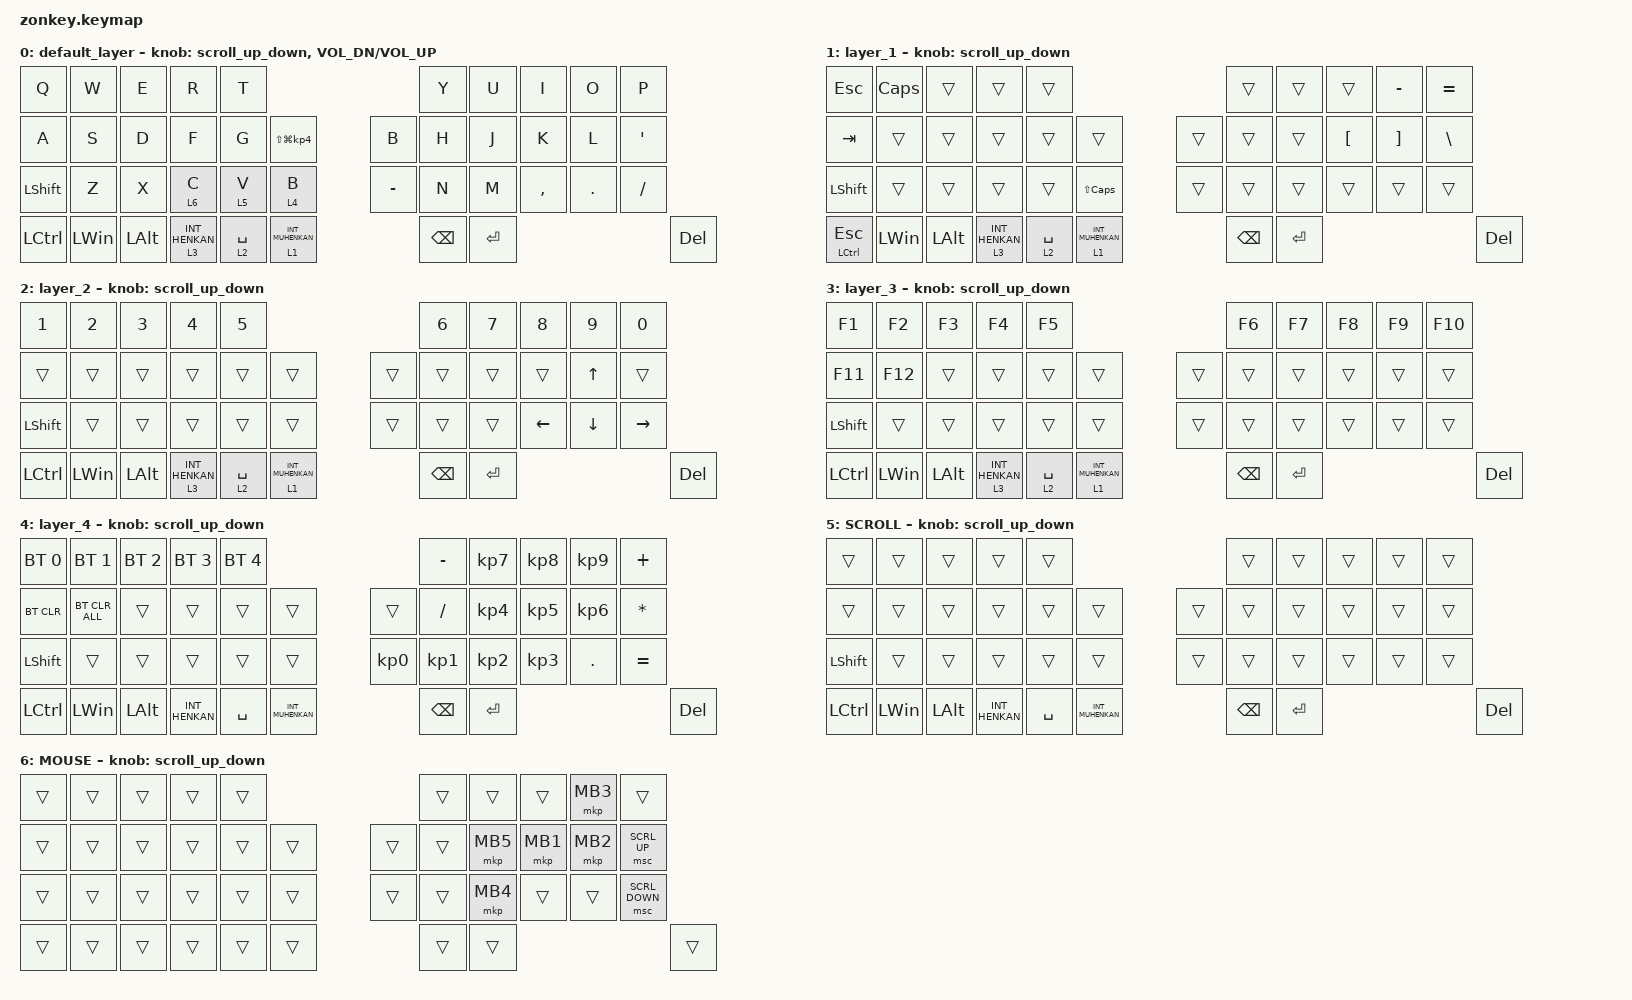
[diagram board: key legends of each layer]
#include <behaviors.dtsi>
#include <dt-bindings/zmk/bt.h>
#include <dt-bindings/zmk/keys.h>
#include <dt-bindings/zmk/pointing.h>

#define ZMK_POINTING_DEFAULT_SCRL_VAL 100
#define MOUSE 6
#define JP_DQUOTE       AT                // "

&mt {
    flavor = "balanced";
    quick-tap-ms = <0>;
};

/ {
    combos { compatible = "zmk,combos"; };

    macros {
        to_layer_0: to_layer_0 {
            compatible = "zmk,behavior-macro-one-param";
            #binding-cells = <1>;
            bindings = <&to 0 &macro_param_1to1 &kp MACRO_PLACEHOLDER>;
            label = "TO_LAYER_0";
        };
    };

    behaviors {
        lt_to_layer_0: lt_to_layer_0 {
            compatible = "zmk,behavior-hold-tap";
            label = "LAYER_TAP_TO_0";
            bindings = <&mo>, <&to_layer_0>;

            #binding-cells = <2>;
            tapping-term-ms = <200>;
        };

        scroll_up_down: behavior_sensor_rotate_mouse_wheel_up_down {
            compatible = "zmk,behavior-sensor-rotate";
            #sensor-binding-cells = <0>;
            bindings = <&msc SCRL_DOWN>, <&msc SCRL_UP>;

            tap-ms = <20>;
        };
    };

    keymap {
        compatible = "zmk,keymap";

        default_layer {
            // -----------------------------------------------------------------------------------------
            // |  Q  |  W  |  E  |  R  |  T  |                        |  Y  |  U   |  I  |  O  |  P  | 
            // |  A  |  S  |  D  |  F  |  G  |LS(LG(S))|        　 | - |  H  |  J   |  K  |  L  |  `  | 
            // |SHIFT|  Z  |  X  |  C  |  V  |  B  |           | ; |  N  |  M   |  ,  |  .  |  /  | 
            // | CTRL | WIN | ALT |HENKAN|SPACE|MUHENKAN|       | BS | ENT |      　　　　       | DEL |           

            bindings = <
&kp Q           &kp W         &kp E         &kp R             &kp T                                              &kp Y          &kp U      &kp I      &kp O    &kp P
&kp A           &kp S         &kp D         &kp F             &kp G        &kp LS(LG(KP_NUMBER_4))    &kp B      &kp H          &kp J      &kp K      &kp L    &kp SQT
&kp LEFT_SHIFT  &kp Z         &kp X         &lt 6 C           &lt 5 V      &lt 4 B                    &kp MINUS  &kp N          &kp M      &kp COMMA  &kp DOT  &kp SLASH
&kp LCTRL       &kp LEFT_WIN  &kp LEFT_ALT  &lt 3 INT_HENKAN  &lt 2 SPACE  &lt 1 INT_MUHENKAN                    &kp BACKSPACE  &kp ENTER                                 &kp DEL
            >;

            sensor-bindings =
                <&scroll_up_down>,
                <&inc_dec_kp C_VOL_DN C_VOL_UP>;
        };

        layer_1 {
            // -----------------------------------------------------------------------------------------
            // | 半角/全角 |CAPS|     |     |     |                     |     |     |  -  |  ^  |  ¥  |
            // | TAB |     |     |     |     |     |              |    |     |     |     |  @  |  [  |
            // |SHIFT|     |     |     |     |     |            | 英数 | かな |     |     |     |  ]  |
            // | CTRL| WIN | ALT |HENKAN|SPACE|MUHENKAN|         | BS | ENT |                   | DEL |

            bindings = <
&kp ESC         &kp CAPS      &trans        &trans            &trans                                     &trans         &trans     &trans            &kp MINUS          &kp EQUAL
&kp TAB         &trans        &trans        &trans            &trans       &trans                &trans  &trans         &trans     &kp LEFT_BRACKET  &kp RIGHT_BRACKET  &kp BACKSLASH
&kp LEFT_SHIFT  &trans        &trans        &trans            &trans       &kp LS(CAPSLOCK)      &trans  &trans         &trans     &trans            &trans             &trans
&mt LCTL ESC    &kp LEFT_WIN  &kp LEFT_ALT  &lt 3 INT_HENKAN  &lt 2 SPACE  &lt 1 INT_MUHENKAN            &kp BACKSPACE  &kp ENTER                                                      &kp DEL
            >;

            sensor-bindings = <&scroll_up_down>;
        };

        layer_2 {
            // -----------------------------------------------------------------------------------------
            // |  1  |  2  |  3  |  4  |  5  |                     |  6  |  7  |  8  |  9  |   0  |
            // |      |     |     |     |     |     |           |    |     |     |     |  ↑  |      |
            // |SHIFT|     |     |     |     |     |           |     |     |     |  ←  |  ↓  |  →  |
            // | CTRL| WIN | ALT |HENKAN|SPACE|MUHENKAN|         | BS | ENT |                   | DEL |

            bindings = <
&kp N1          &kp N2        &kp N3        &kp N4            &kp N5                                     &kp N6         &kp N7     &kp N8          &kp N9          &kp N0
&trans          &trans        &trans        &trans            &trans       &trans                &trans  &trans         &trans     &trans          &kp UP_ARROW    &trans
&kp LEFT_SHIFT  &trans        &trans        &trans            &trans       &trans                &trans  &trans         &trans     &kp LEFT_ARROW  &kp DOWN_ARROW  &kp RIGHT_ARROW
&kp LCTRL       &kp LEFT_WIN  &kp LEFT_ALT  &lt 3 INT_HENKAN  &lt 2 SPACE  &lt 1 INT_MUHENKAN            &kp BACKSPACE  &kp ENTER                                                   &kp DEL
            >;

            sensor-bindings = <&scroll_up_down>;
        };

        layer_3 {
            // -----------------------------------------------------------------------------------------
            // | F1  | F2  | F3  | F4  | F5  |                     | F6  | F7 | F8  | F9 | F10 |
            // | F11 | F12 |     |     |     |     |           |    |     |     |     |     |      |
            // |SHIFT|     |     |     |     |     |           |     |     |     |     |     |      |
            // | CTRL| WIN | ALT |HENKAN|SPACE|MUHENKAN|         | BS | ENT |                   | DEL |

            bindings = <
&kp F1          &kp F2        &kp F3        &kp F4            &kp F5                                     &kp F6         &kp F7     &kp F8  &kp F9  &kp F10
&kp F11         &kp F12       &trans        &trans            &trans       &trans                &trans  &trans         &trans     &trans  &trans  &trans
&kp LEFT_SHIFT  &trans        &trans        &trans            &trans       &trans                &trans  &trans         &trans     &trans  &trans  &trans
&kp LCTRL       &kp LEFT_WIN  &kp LEFT_ALT  &lt 3 INT_HENKAN  &lt 2 SPACE  &lt 1 INT_MUHENKAN            &kp BACKSPACE  &kp ENTER                           &kp DEL
            >;

            sensor-bindings = <&scroll_up_down>;
        };

        layer_4 {
            // -----------------------------------------------------------------------------------------
            // | BT0 | BT1 | BT2 | BT3 | BT4 |                |  -  |  7  |  8  |  9  |  +  |
            // |BTCLR |     |     |     |     |     |           |  /  |  4  |  5  |  6  |  *  | 
            // |SHIFT|     |     |     |     |     |           |  0  |  1  |  2  |   3 |  .  |  =  |
            // | CTRL| WIN | ALT |HENKAN|SPACE|MUHENKAN|        | BS | ENT |                  | DEL |

            bindings = <
&bt BT_SEL 0    &bt BT_SEL 1    &bt BT_SEL 2  &bt BT_SEL 3    &bt BT_SEL 4                                       &kp MINUS        &kp KP_NUMBER_7  &kp KP_NUMBER_8  &kp KP_NUMBER_9  &kp PLUS
&bt BT_CLR      &bt BT_CLR_ALL  &trans        &trans          &trans        &trans              &trans           &kp SLASH        &kp KP_NUMBER_4  &kp KP_NUMBER_5  &kp KP_NUMBER_6  &kp ASTERISK
&kp LEFT_SHIFT  &trans          &trans        &trans          &trans        &trans              &kp KP_NUMBER_0  &kp KP_NUMBER_1  &kp KP_NUMBER_2  &kp KP_NUMBER_3  &kp PERIOD       &kp EQUAL
&kp LCTRL       &kp LEFT_WIN    &kp LEFT_ALT  &kp INT_HENKAN  &kp SPACE     &kp INT_MUHENKAN                     &kp BACKSPACE    &kp ENTER                                                        &kp DEL
            >;

            sensor-bindings = <&scroll_up_down>;
        };

        SCROLL {
            // -----------------------------------------------------------------------------------------
            // |      |     |     |     |     |                     |     |     |     |     |      |
            // |      |     |     |     |     |     |           |    |     |     |     |     |      |
            // |SHIFT|     |     |     |     |     |          |     |     |     |     |     |      |
            // | CTRL| WIN | ALT |HENKAN|SPACE|MUHENKAN|        | BS | ENT |                  | DEL |

            bindings = <
&trans          &trans        &trans        &trans          &trans                                 &trans         &trans     &trans  &trans  &trans
&trans          &trans        &trans        &trans          &trans     &trans              &trans  &trans         &trans     &trans  &trans  &trans
&kp LEFT_SHIFT  &trans        &trans        &trans          &trans     &trans              &trans  &trans         &trans     &trans  &trans  &trans
&kp LCTRL       &kp LEFT_WIN  &kp LEFT_ALT  &kp INT_HENKAN  &kp SPACE  &kp INT_MUHENKAN            &kp BACKSPACE  &kp ENTER                          &kp DEL
            >;

            sensor-bindings = <&scroll_up_down>;
        };

        MOUSE {
            bindings = <
&trans  &trans  &trans  &trans  &trans                    &trans  &trans    &trans    &mkp MB3  &trans
&trans  &trans  &trans  &trans  &trans  &trans    &trans  &trans  &mkp MB5  &mkp MB1  &mkp MB2  &msc SCRL_UP
&trans  &trans  &trans  &trans  &trans  &trans    &trans  &trans  &mkp MB4  &trans    &trans    &msc SCRL_DOWN
&trans  &trans  &trans  &trans  &trans  &trans            &trans  &trans                                        &trans
            >;

            sensor-bindings = <&scroll_up_down>;
        };
    };
};
